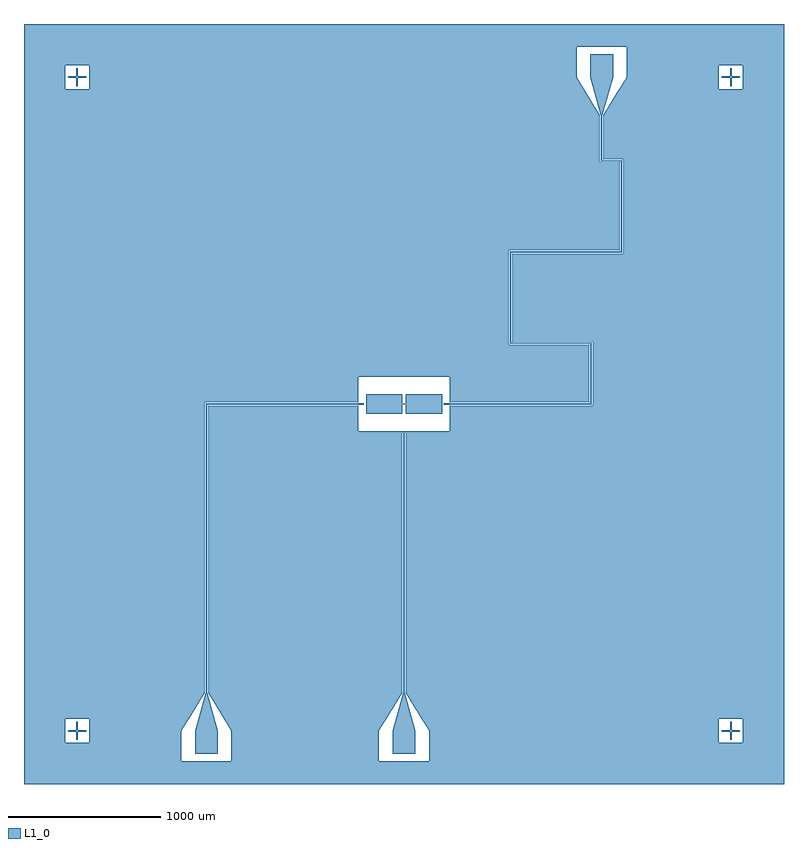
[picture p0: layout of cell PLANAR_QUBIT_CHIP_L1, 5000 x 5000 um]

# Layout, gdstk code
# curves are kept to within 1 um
import gdstk
lib = gdstk.Library(unit=1e-6, precision=1e-09)
def R(c, l, rs):  # rectangles x0, y0, x1, y1
    for r in rs: c.add(gdstk.rectangle(r[:2], r[2:], *l))
def P(c, l, *ps):  # polygons
    for p in ps: c.add(gdstk.Polygon(p, *l))
L1_0 = (1, 0)

planar_qubit_chip_l1 = lib.new_cell('PLANAR_QUBIT_CHIP_L1')
R(planar_qubit_chip_l1, L1_0, [(1125,200,1275,350), (2425,200,2575,350), (2495,600,2505,2310), (2250,2435,2490,2565), (2510,2435,2750,2565), (2490,2498,2510,2502), (3725,4650,3875,4800)])
P(planar_qubit_chip_l1, L1_0, [(2680,450),(2680,447),(2665,447),(2665,450),(2603.4,450),(2665,350),(2665,270),(4570,270),(4570,430),(4730,430),(4730,270),(2665,270),(2665,203),(2680,203),(2680,200),(2850,200),(2850,203),(2865,203),(2865,200),(2665,200),(2665,150),(2335,150),(2335,200),(2320,200),(2320,203),(2335,203),(2335,350),(2396.6,450),(2335,450),(2335,447),(2320,447),(2320,450),(2150,450),(2150,447),(2135,447),(2135,450),(1565,450),(1565,447),(1550,447),(1550,450),(1380,450),(1380,447),(1365,447),(1365,450),(1303.4,450),(1365,350),(1365,203),(1380,203),(1380,200),(1550,200),(1550,203),(1565,203),(1565,200),(2135,200),(2135,203),(2150,203),(2150,200),(1365,200),(1365,150),(1035,150),(1035,200),(1020,200),(1020,203),(1035,203),(1035,350),(1096.6,450),(1035,450),(1035,447),(1020,447),(1020,450),(850,450),(850,447),(835,447),(835,450),(0,450),(0,270),(270,270),(270,430),(430,430),(430,270),(0,270),(0,200),(835,200),(835,203),(850,203),(850,200),(0,200),(0,0),(5000,0),(5000,450),(2865,450),(2865,447),(2850,447),(2850,450)],
  [(3811,4111),(3941,4111),(3941,3489),(3211,3489),(3211,2911),(3741,2911),(3741,2489),(2800,2489),(2800,2320),(2200,2320),(2200,2489),(1211,2489),(1211,600),(1303.4,450),(2396.6,450),(2489,600),(2489,2310),(2511,2310),(2511,600),(2603.4,450),(5000,450),(5000,5000),(0,5000),(0,4797),(3435,4797),(3435,4800),(3450,4800),(3450,4797),(0,4797),(0,4570),(270,4570),(270,4730),(430,4730),(430,4570),(0,4570),(0,4550),(3435,4550),(3435,4553),(3450,4553),(3450,4550),(3620,4550),(3620,4553),(3635,4553),(3635,4550),(0,4550),(0,450),(1096.6,450),(1189,600),(1189,2511),(2200,2511),(2200,2680),(2800,2680),(2800,2511),(3719,2511),(3719,2889),(3189,2889),(3189,3511),(3919,3511),(3919,4089),(3789,4089),(3789,4400),(3635,4650),(3635,4797),(3620,4797),(3620,4800),(3635,4800),(3635,4850),(3965,4850),(3965,4800),(3980,4800),(3980,4797),(4150,4797),(4150,4800),(4165,4800),(4165,4797),(3965,4797),(3965,4650),(3915.72,4570),(4570,4570),(4570,4730),(4730,4730),(4730,4570),(3915.72,4570),(3903.4,4550),(3965,4550),(3965,4553),(3980,4553),(3980,4550),(4150,4550),(4150,4553),(4165,4553),(4165,4550),(3903.4,4550),(3811,4400)],
  [(4645,4590),(4655,4590),(4655,4645),(4710,4645),(4710,4655),(4655,4655),(4655,4710),(4645,4710),(4645,4655),(4590,4655),(4590,4645),(4645,4645)],
  [(345,4590),(355,4590),(355,4645),(410,4645),(410,4655),(355,4655),(355,4710),(345,4710),(345,4655),(290,4655),(290,4645),(345,4645)],
  [(4645,290),(4655,290),(4655,345),(4710,345),(4710,355),(4655,355),(4655,410),(4645,410),(4645,355),(4590,355),(4590,345),(4645,345)],
  [(345,290),(355,290),(355,345),(410,345),(410,355),(355,355),(355,410),(345,410),(345,355),(290,355),(290,345),(345,345)],
  [(1125,350),(1275,350),(1205,600),(1195,600)],
  [(2425,350),(2575,350),(2505,600),(2495,600)],
  [(3725,4650),(3875,4650),(3805,4400),(3795,4400)],
  [(1195,600),(1205,600),(1205,2495),(2235,2495),(2235,2505),(1195,2505)],
  [(3805,4400),(3795,4400),(3795,4095),(3925,4095),(3925,3505),(3195,3505),(3195,2895),(3725,2895),(3725,2505),(2762,2505),(2762,2495),(3735,2495),(3735,2905),(3205,2905),(3205,3495),(3935,3495),(3935,4105),(3805,4105)],
  [(355,345),(410,345),(410,355),(355,355),(355,410),(345,410),(345,355),(290,355),(290,345),(345,345),(345,290),(355,290)],
  [(4655,345),(4710,345),(4710,355),(4655,355),(4655,410),(4645,410),(4645,355),(4590,355),(4590,345),(4645,345),(4645,290),(4655,290)],
  [(4655,4645),(4710,4645),(4710,4655),(4655,4655),(4655,4710),(4645,4710),(4645,4655),(4590,4655),(4590,4645),(4645,4645),(4645,4590),(4655,4590)],
  [(355,4645),(410,4645),(410,4655),(355,4655),(355,4710),(345,4710),(345,4655),(290,4655),(290,4645),(345,4645),(345,4590),(355,4590)])

lib.write_gds('PLANAR_QUBIT_CHIP_L1.gds')
